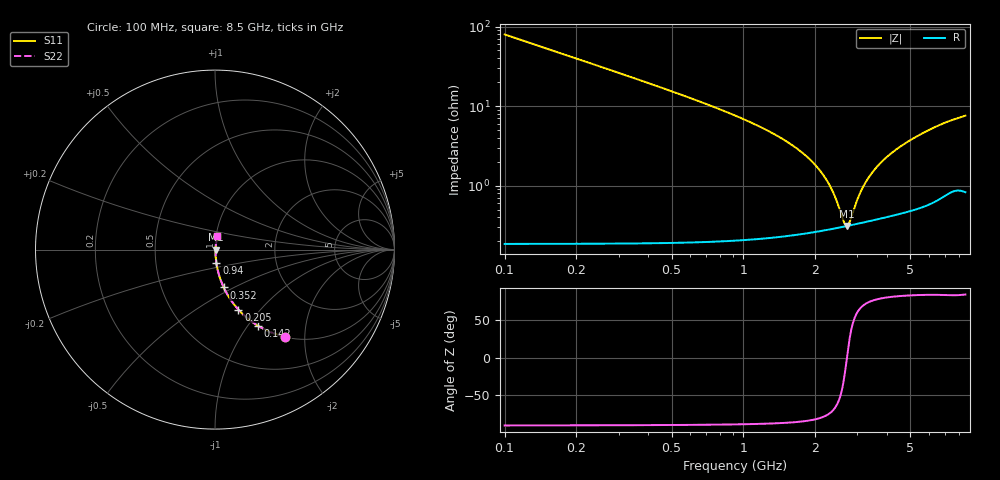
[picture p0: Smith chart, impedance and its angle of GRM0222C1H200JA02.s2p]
!Murata Part Number: GRM0222C1H200JA02
!These Parameters are Measured in Series Mode Connection
!Data Generated on Mar 30, 2021
!  o--ll--o
!Port1  Port2
!  o------o
!Operation Temp=25[degC], DC Bias Voltage=0[V]
!Freq. Start=100[MHz] Stop=9[GHz] 401[Steps]
# Hz S RI R 50
!Freq.(Hz) S11(Real) S11(Imag) S21(Real) S21(Imag) S12(Real) S12(Imag) S22(Real) S22(Imag)
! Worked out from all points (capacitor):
!   401 points, 100 MHz to 8.5 GHz, reference 50 ohm
!   read as one part in series: C = 20 pF near 142 MHz
!   lowest |Z| = 310 mohm at 2.704 GHz (marker M1)
!   series resonance near 2.712 GHz, so ESL is about 170 pH
!   S11 on the Smith chart (normalised r, x): 100 MHz: 1.00, -1.59; 142 MHz: 1.00, -1.12; 205 MHz: 1.00, -0.77; 352 MHz: 1.00, -0.44; 940 MHz: 1.00, -0.15; 8.5 GHz: 1.02, +0.15
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1e8  0.3873 -0.486  0.6127 0.486  0.6127 0.486  0.3873 -0.486
1.42e8  0.2387 -0.4246  0.7613 0.4246  0.7613 0.4246  0.2387 -0.4246
2.05e8  0.1308 -0.3348  0.8692 0.3348  0.8692 0.3348  0.1308 -0.3348
3.52e8  0.0487 -0.211  0.9513 0.211  0.9513 0.211  0.0487 -0.211
6.04e8  0.0172 -0.1227  0.9828 0.1227  0.9828 0.1227  0.0172 -0.1227
9.4e8  0.00749 -0.0736  0.9925 0.0736  0.9925 0.0736  0.00749 -0.0736
1.507e9  0.00361 -0.0361  0.9964 0.0361  0.9964 0.0361  0.00361 -0.0361
1.906e9  0.00298 -0.0208  0.997 0.0208  0.997 0.0208  0.00298 -0.0208
2.179e9  0.00289 -0.0127  0.9971 0.0127  0.9971 0.0127  0.00289 -0.0127
2.389e9  0.00292 -0.00732  0.9971 0.00732  0.9971 0.00732  0.00292 -0.00732
2.641e9  0.00305 -0.00153  0.997 0.00153  0.997 0.00153  0.00305 -0.00153
2.704e9  0.00309 -0.000174  0.9969 0.000174  0.9969 0.000174  0.00309 -0.000174
2.788e9  0.00315 0.00158  0.9968 -0.00158  0.9968 -0.00158  0.00315 0.00158
2.914e9  0.00326 0.00411  0.9967 -0.00411  0.9967 -0.00411  0.00326 0.00411
3.145e9  0.00348 0.00849  0.9965 -0.00849  0.9965 -0.00849  0.00348 0.00849
3.418e9  0.00378 0.0133  0.9962 -0.0133  0.9962 -0.0133  0.00378 0.0133
3.796e9  0.00425 0.0195  0.9958 -0.0195  0.9958 -0.0195  0.00425 0.0195
4.3e9  0.00496 0.027  0.995 -0.027  0.995 -0.027  0.00496 0.027
4.93e9  0.00599 0.0357  0.994 -0.0357  0.994 -0.0357  0.00599 0.0357
5.707e9  0.00752 0.0457  0.9925 -0.0457  0.9925 -0.0457  0.00752 0.0457
7.114e9  0.0115 0.0616  0.9885 -0.0616  0.9885 -0.0616  0.0115 0.0616
8.5e9  0.0137 0.0738  0.9863 -0.0738  0.9863 -0.0738  0.0137 0.0738
